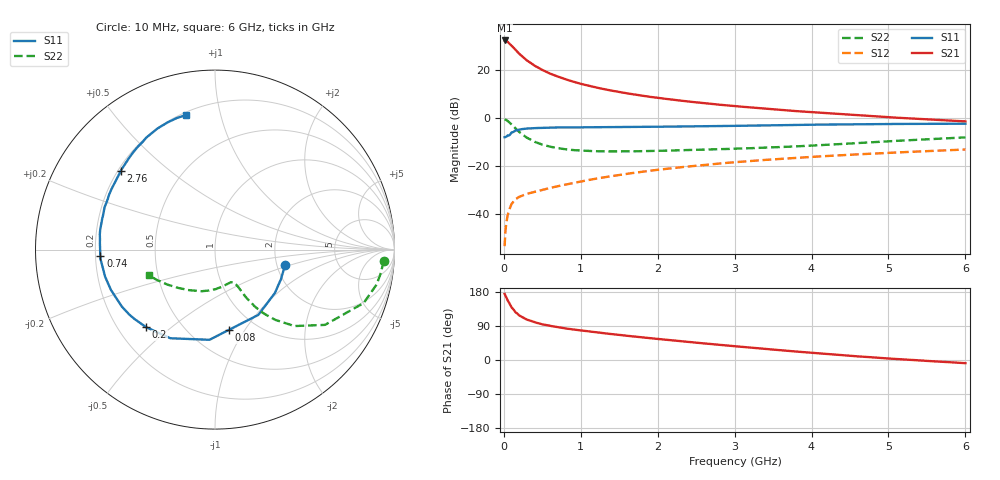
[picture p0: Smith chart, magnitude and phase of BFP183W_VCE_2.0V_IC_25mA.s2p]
! Infineon Technologies  Discrete & RF Semiconductors
! BFP183W
! VCE = 2.0 V,  IC =  25 mA
! Common Emitter S-Parameters:  Jan 2016
# GHz  S  MA  R  50
!  f  S11  S21  S12  S22
! GHz  MAG  ANG  MAG  ANG  MAG  ANG  MAG  ANG
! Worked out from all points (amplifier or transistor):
!   210 points, 10 MHz to 6 GHz, reference 50 ohm
!   highest |S21| = 32.5 dB at 10 MHz (marker M1)
!   |S21| within 3 dB of that: start of sweep to 124.9 MHz
!   unconditionally stable (mu >= 1): 727.1 MHz to 5.257 GHz
!   at 185 MHz: K = 0.42, MSG = 30.4 dB, |S12| = -33.2 dB
!   at 1.52 GHz: K = 1.20, MAG = 14.5 dB, |S12| = -23.6 dB
!   at 6 GHz: K = 0.96, MSG = 5.9 dB, |S12| = -13.1 dB
!   S11 on the Smith chart (normalised r, x): 10 MHz: 2.22, -0.44; 80 MHz: 0.76, -0.85; 200 MHz: 0.32, -0.41; 740 MHz: 0.22, -0.03; 2.76 GHz: 0.21, +0.35; 6 GHz: 0.22, +0.79
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0.01  0.3998 -12.0  42.38 174.5  0.0021 85.0  0.9424 -3.8
0.03  0.412 -35.8  41.69 165.9  0.006 81.3  0.9212 -12.2
0.05  0.4365 -56.4  39.6 156.8  0.0094 72.5  0.8802 -19.8
0.08  0.4538 -80.1  35.36 146.9  0.0133 62.3  0.7911 -28.0
0.1  0.5035 -93.5  33.23 139.1  0.016 58.3  0.7424 -34.4
0.105  0.5044 -96.0  32.56 138.0  0.0164 57.5  0.7287 -35.2
0.15  0.5529 -116.7  27.14 126.3  0.0201 52.1  0.6132 -44.0
0.2  0.5778 -131.5  22.36 117.6  0.0226 47.7  0.5152 -49.4
0.24  0.5923 -139.3  19.57 112.7  0.024 46.0  0.4578 -52.1
0.3  0.6084 -148.5  16.16 106.6  0.0262 45.5  0.3906 -54.9
0.4  0.6218 -158.8  12.56 99.4  0.0288 46.3  0.3213 -57.0
0.5  0.6305 -166.1  10.23 94.1  0.0317 47.9  0.2794 -57.5
0.6  0.6336 -171.1  8.595 90.1  0.0347 49.8  0.2536 -57.9
0.74  0.6398 -176.9  7.078 85.4  0.0389 52.1  0.2315 -58.7
1.02  0.6439 174.5  5.147 77.5  0.0479 55.6  0.2098 -61.0
1.4  0.6515 165.4  3.779 68.4  0.0613 57.7  0.2023 -65.9
2.02  0.6643 152.9  2.643 55.2  0.0839 57.5  0.2077 -76.9
2.76  0.6842 140.0  1.948 40.9  0.1111 54.6  0.2232 -92.5
3.1  0.6957 134.6  1.738 34.7  0.1234 52.6  0.2327 -100.5
4.1  0.7344 120.3  1.308 17.6  0.1585 46.3  0.2726 -124.9
5.1  0.7578 109.4  1.027 2.7  0.1917 39.5  0.3355 -145.5
6  0.7672 102.1  0.859 -8.4  0.2213 33.6  0.3963 -158.9
